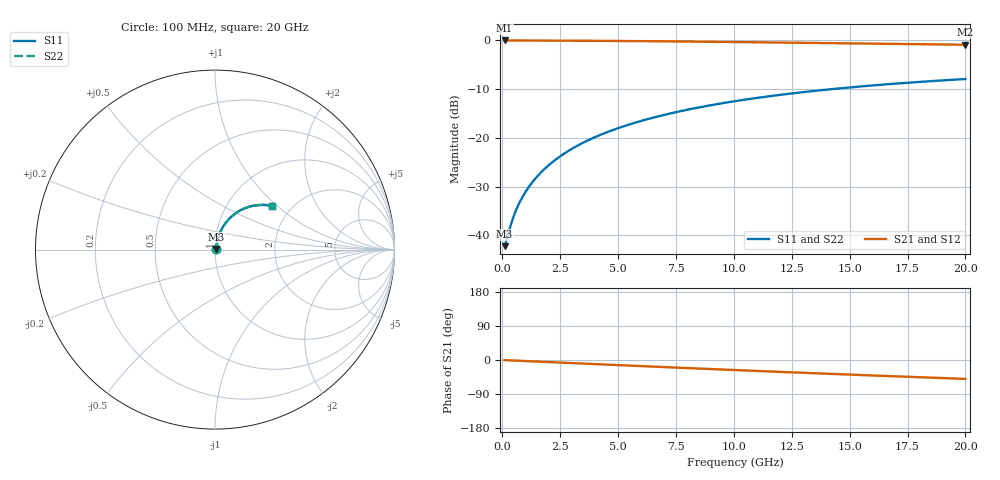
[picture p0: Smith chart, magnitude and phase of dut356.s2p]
! Touchstone file exported from HFSS 2026.1.0
!  File:  C:/ffzhzh/LocalFiles/Ansys_Project_Files/temp_train_BSMRDL_356_1783011517_4048.aedt
!  Generated:  01:00:09 AM Jul  3, 2026
!  Design:  BSMRDL
!  Project:  temp_train_BSMRDL_356_1783011517_4048
! Variables:
!  h_bsmrdl = 2.99um
!  h_ox = 20um
!  h_rdl = 5um
!  h_sub = 80um
!  h_tmrdl = 5um
!  h_tsv = 80um
!  h_via = 3um
!  l_bsmrdl = 799.29um
!  l_sub = 1199.29um
!  l_tmrdl = 200um
!  m_sub = 200um
!  pitch = 27.79um
!  r_tsv = 6um
!  s_tmrdl = 10um
!  w_bsmrdl = 13.2um
!  w_sub = 500um
!  w_tmrdl = 12um
!  x_tsv_center1 = 206um
!  x_tsv_center2 = 1018.49um
!  x_tsv_center3 = 1230.49um
!  x_tsv_center4 = 2042.98um
!  x_tsv_center5 = 2254.98um
!  x_tsv_center6 = 3067.47um
# GHz S MA R 50.000000
! Terminal data exported
! Port[1] = BSM_RDL1_1_T1
! Port[2] = BSM_RDL1_1_T2
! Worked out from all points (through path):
!   200 points, 100 MHz to 20 GHz, reference 50 ohm
!   highest |S21| = -0.06 dB at 100 MHz (marker M1); lowest = -0.9 dB at 20 GHz (marker M2)
!   group delay of S21, straight-line fit = 6.93 ps
!   lowest |S11| = -42.2 dB at 100 MHz (marker M3), VSWR 1.02, Z = 50.7 + j0.286 ohm
!   |S11| at or under -10 dB: start of sweep to 14.31 GHz
!   |S22| runs from -42.2 to -8.0 dB; largest |S21 - S12| = 3.1e-15
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0.1  0.007736 21.4  0.9928 -0.3  0.9928 -0.3  0.007736 21.4
! Gamma 0 0 0 0
! Port Impedance 50 0 50 0
0.4  0.01352 54.1  0.9922 -1.1  0.9922 -1.1  0.01352 54.1
0.5  0.01585 58.6  0.992 -1.4  0.992 -1.4  0.01585 58.6
0.6  0.01821 61.9  0.9918 -1.7  0.9918 -1.7  0.01821 61.9
0.7  0.02059 64.4  0.9916 -2.0  0.9916 -2.0  0.02059 64.4
0.9  0.02537 67.8  0.9912 -2.5  0.9912 -2.5  0.02537 67.8
1.2  0.03261 71.0  0.9907 -3.3  0.9907 -3.3  0.03261 71.0
1.4  0.03747 72.3  0.9904 -3.9  0.9904 -3.9  0.03748 72.3
1.7  0.04482 73.6  0.9899 -4.7  0.9899 -4.7  0.04482 73.5
2.2  0.05713 74.5  0.989 -6.0  0.989 -6.0  0.05713 74.5
2.8  0.07192 74.6  0.9878 -7.6  0.9878 -7.6  0.07192 74.6
3.5  0.08911 74.0  0.986 -9.5  0.986 -9.5  0.08911 74.0
4.2  0.1061 72.9  0.9839 -11.4  0.9839 -11.4  0.1061 72.9
5  0.1253 71.4  0.9811 -13.5  0.9811 -13.5  0.1253 71.4
5.9  0.1465 69.5  0.9776 -15.9  0.9776 -15.9  0.1465 69.5
6.8  0.1672 67.5  0.9736 -18.3  0.9736 -18.3  0.1672 67.5
8.3  0.2004 64.0  0.9662 -22.1  0.9662 -22.1  0.2004 64.0
10.1  0.238 59.8  0.9564 -26.7  0.9564 -26.7  0.2381 59.7
11.7  0.2694 56.0  0.9471 -30.6  0.9471 -30.6  0.2694 55.9
13.4  0.3005 52.1  0.9369 -34.8  0.9369 -34.8  0.3005 52.0
16.7  0.3543 44.7  0.9167 -42.5  0.9167 -42.5  0.3543 44.5
20  0.3995 37.5  0.8974 -49.9  0.8974 -49.9  0.3996 37.4
